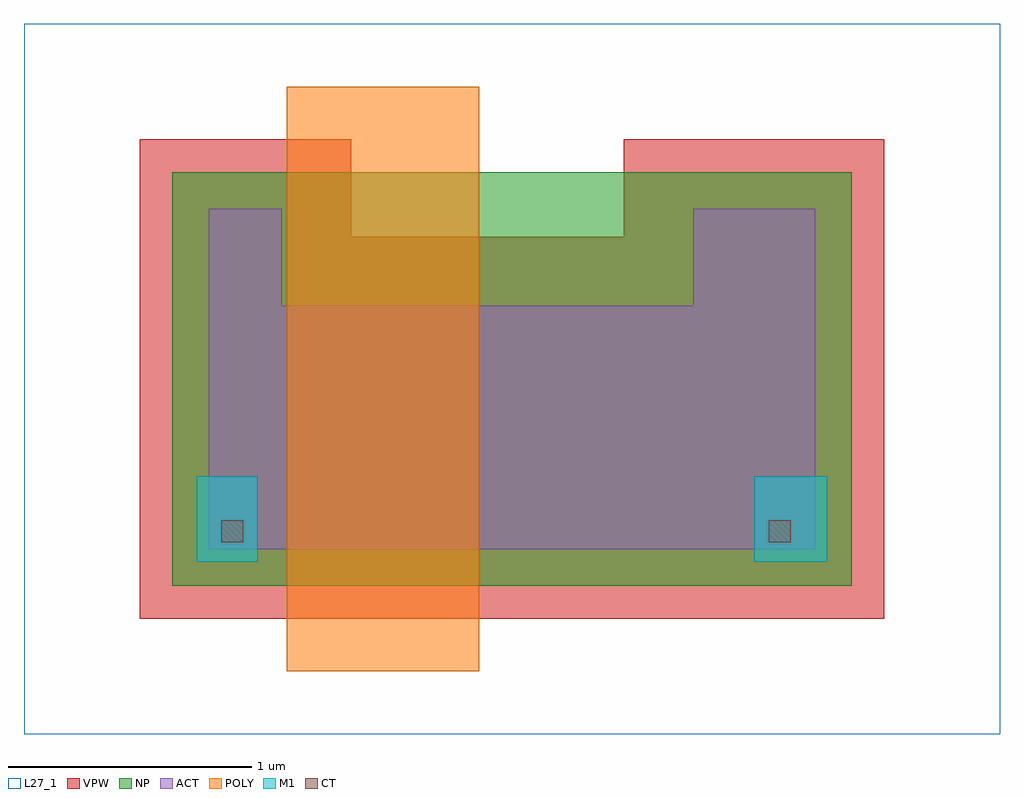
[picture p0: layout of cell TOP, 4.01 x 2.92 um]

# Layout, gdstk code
import gdstk
lib = gdstk.Library(unit=1e-6, precision=1e-09)
def R(c, l, rs):  # rectangles x0, y0, x1, y1
    for r in rs: c.add(gdstk.rectangle(r[:2], r[2:], *l))
def P(c, l, *ps):  # polygons
    for p in ps: c.add(gdstk.Polygon(p, *l))
ACT = (2, 1)
L27_1 = (27, 1)
POLY = (41, 1)
NP = (52, 1)
CT = (72, 1)
M1 = (81, 1)
VPW = (261, 12)

top = lib.new_cell('TOP')
P(top, ACT, [(0,0),(0,1.4),(0.3,1.4),(0.3,1),(1.99,1),(1.99,1.4),(2.49,1.4),(2.49,0)])
R(top, L27_1, [(-0.76,-0.76,3.25,2.16)])
R(top, POLY, [(0.32,-0.5,1.11,1.9)])
R(top, NP, [(-0.15,-0.15,2.64,1.55)])
R(top, CT, [(0.05,0.03,0.14,0.12), (2.3,0.03,2.39,0.12)])
R(top, M1, [(-0.05,-0.05,0.2,0.3), (2.24,-0.05,2.54,0.3)])
P(top, VPW, [(-0.285,-0.285),(-0.285,1.685),(0.585,1.685),(0.585,1.285),(1.705,1.285),(1.705,1.685),(2.775,1.685),(2.775,-0.285)])

lib.write_gds('TOP.gds')
